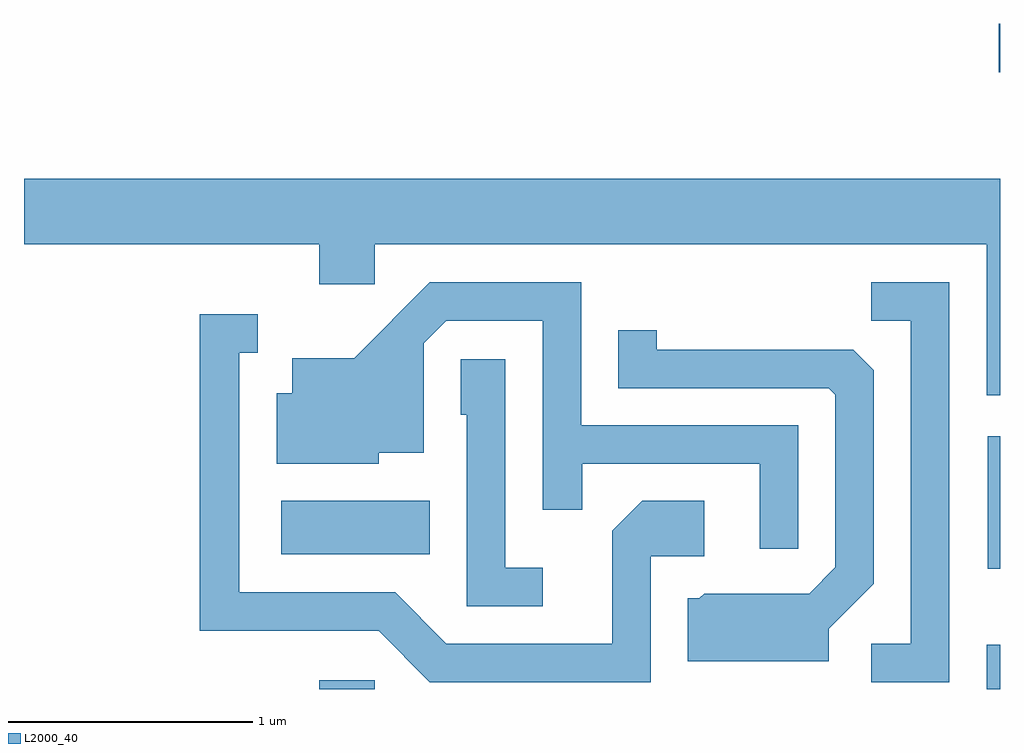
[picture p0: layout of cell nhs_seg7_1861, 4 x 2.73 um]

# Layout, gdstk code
import gdstk
lib = gdstk.Library(unit=1e-6, precision=1e-09)
def R(c, l, rs):  # rectangles x0, y0, x1, y1
    for r in rs: c.add(gdstk.rectangle(r[:2], r[2:], *l))
def P(c, l, *ps):  # polygons
    for p in ps: c.add(gdstk.Polygon(p, *l))
L2000_40 = (2000, 40)

nhs_seg7_1861 = lib.new_cell('nhs_seg7_1861')
R(nhs_seg7_1861, L2000_40, [(242.821,1730.252,243.049,1730.289), (245.556,1730.252,245.611,1730.434), (245.561,1730.746,245.611,1731.289), (242.666,1730.806,243.274,1731.024), (245.606,1732.781,245.611,1732.979)])
P(nhs_seg7_1861, L2000_40, [(245.611,1732.344),(241.611,1732.344),(241.611,1732.076),(242.821,1732.076),(242.821,1731.911),(243.049,1731.911),(243.049,1732.076),(245.556,1732.076),(245.556,1731.456),(245.611,1731.456)],
  [(244.784,1731.334),(243.894,1731.334),(243.894,1731.919),(243.274,1731.919),(242.964,1731.609),(242.711,1731.609),(242.711,1731.464),(242.646,1731.464),(242.646,1731.176),(243.064,1731.176),(243.064,1731.221),(243.249,1731.221),(243.249,1731.669),(243.342,1731.761),(243.736,1731.761),(243.736,1730.988),(243.899,1730.988),(243.899,1731.176),(244.626,1731.176),(244.626,1730.828),(244.784,1730.828)],
  [(245.404,1731.919),(245.083,1731.919),(245.083,1731.761),(245.246,1731.761),(245.246,1730.439),(245.083,1730.439),(245.083,1730.281),(245.404,1730.281)],
  [(244.179,1730.796),(244.399,1730.796),(244.399,1731.024),(244.144,1731.024),(244.021,1730.902),(244.021,1730.439),(243.342,1730.439),(243.132,1730.649),(242.494,1730.649),(242.494,1731.631),(242.568,1731.631),(242.568,1731.789),(242.331,1731.789),(242.331,1730.491),(243.064,1730.491),(243.274,1730.281),(244.179,1730.281)],
  [(244.909,1730.499),(245.094,1730.684),(245.094,1731.559),(245.009,1731.644),(244.204,1731.644),(244.204,1731.723),(244.046,1731.723),(244.046,1731.486),(244.909,1731.486),(244.936,1731.459),(244.936,1730.752),(244.829,1730.644),(244.399,1730.644),(244.379,1730.624),(244.331,1730.624),(244.331,1730.366),(244.909,1730.366)],
  [(243.738,1730.749),(243.584,1730.749),(243.584,1731.604),(243.401,1731.604),(243.401,1731.376),(243.426,1731.376),(243.426,1730.591),(243.738,1730.591)])

lib.write_gds('nhs_seg7_1861.gds')
